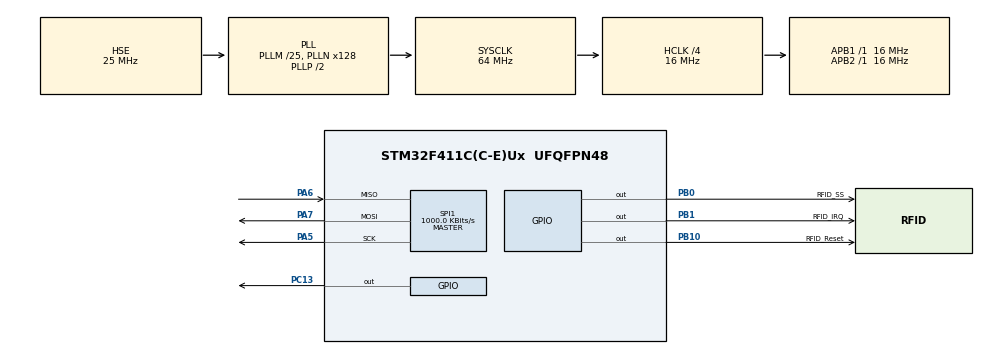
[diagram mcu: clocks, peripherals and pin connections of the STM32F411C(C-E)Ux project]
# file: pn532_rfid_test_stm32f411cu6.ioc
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Mcu.Family=STM32F4
Mcu.Name=STM32F411C(C-E)Ux
Mcu.Package=UFQFPN48
NVIC.PriorityGroup=NVIC_PRIORITYGROUP_4
NVIC.SPI1_IRQn=true\:0\:0\:false\:false\:true\:true\:true\:true
PA13.Mode=Serial_Wire
PA13.Signal=SYS_JTMS-SWDIO
PA14.Mode=Serial_Wire
PA14.Signal=SYS_JTCK-SWCLK
PA5.Mode=Full_Duplex_Master
PA5.Signal=SPI1_SCK
PA6.Mode=Full_Duplex_Master
PA6.Signal=SPI1_MISO
PA7.Mode=Full_Duplex_Master
PA7.Signal=SPI1_MOSI
PB0.GPIO_Label=RFID_SS
PB0.Signal=GPIO_Output
PB1.GPIO_Label=RFID_IRQ
PB1.Signal=GPIO_Output
PB10.GPIO_Label=RFID_Reset
PB10.Signal=GPIO_Output
PC13-ANTI_TAMP.Signal=GPIO_Output
PH0\ -\ OSC_IN.Mode=HSE-External-Oscillator
PH0\ -\ OSC_IN.Signal=RCC_OSC_IN
PH1\ -\ OSC_OUT.Mode=HSE-External-Oscillator
PH1\ -\ OSC_OUT.Signal=RCC_OSC_OUT
ProjectManager.HeapSize=0x200
ProjectManager.StackSize=0x400
ProjectManager.TargetToolchain=STM32CubeIDE
RCC.48MHZClocksFreq_Value=32000000
RCC.AHBCLKDivider=RCC_SYSCLK_DIV4
RCC.AHBFreq_Value=16000000
RCC.APB1Freq_Value=16000000
RCC.APB1TimFreq_Value=16000000
RCC.APB2Freq_Value=16000000
RCC.APB2TimFreq_Value=16000000
RCC.CortexFreq_Value=16000000
RCC.HCLKFreq_Value=16000000
RCC.HSE_VALUE=25000000
RCC.HSI_VALUE=16000000
RCC.LSE_VALUE=32768
RCC.PLLM=25
RCC.PLLN=128
RCC.PLLSourceVirtual=RCC_PLLSOURCE_HSE
RCC.SYSCLKFreq_VALUE=64000000
RCC.SYSCLKSource=RCC_SYSCLKSOURCE_PLLCLK
RCC.VCOOutputFreq_Value=128000000
SPI1.BaudRatePrescaler=SPI_BAUDRATEPRESCALER_16
SPI1.CalculateBaudRate=1000.0 KBits/s
SPI1.Direction=SPI_DIRECTION_2LINES
SPI1.FirstBit=SPI_FIRSTBIT_LSB
SPI1.Mode=SPI_MODE_MASTER
SPI1.VirtualType=VM_MASTER
board=custom

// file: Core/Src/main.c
/* USER CODE BEGIN Header */
/**
  ******************************************************************************
  * @file           : main.c
  * @brief          : Main program body
  ******************************************************************************
  * @attention
  *
  * Copyright (c) 2023 STMicroelectronics.
  * All rights reserved.
  *
  * This software is licensed under terms that can be found in the LICENSE file
  * in the root directory of this software component.
  * If no LICENSE file comes with this software, it is provided AS-IS.
  *
  ******************************************************************************
  */
/* USER CODE END Header */
#include "main.h"

/* USER CODE BEGIN Includes */
#include "mylibrary.h"
#include "pn532_stm32f1.h"
#include <stdio.h>
/* USER CODE END Includes */

/* USER CODE BEGIN PTD */
  uint8_t buff[255];
  uint8_t uid[MIFARE_UID_MAX_LENGTH];
  uint8_t key_a[] = {0xFF, 0xFF, 0xFF, 0xFF, 0xFF, 0xFF};
  uint32_t pn532_error = PN532_ERROR_NONE;
  int32_t uid_len = 0;
  uint8_t getfirmware_status;
  PN532 pn532;
/* USER CODE END PTD */

/* USER CODE BEGIN PD */
#define use_HEXADECIMAL
/* USER CODE END PD */

SPI_HandleTypeDef hspi1;

void SystemClock_Config(void);
static void MX_GPIO_Init(void);
static void MX_SPI1_Init(void);

int main(void)
{

  /* MCU Configuration--------------------------------------------------------*/

  /* Reset of all peripherals, Initializes the Flash interface and the Systick. */
  HAL_Init();

  /* Configure the system clock */
  SystemClock_Config();

  /* Initialize all configured peripherals */
  MX_GPIO_Init();
  MX_SPI1_Init();
  /* USER CODE BEGIN 2 */
  HAL_Delay(1000);
  memset(buffer, 0, sizeof(buffer));

  PN532_SPI_Init(&pn532);

  if (PN532_GetFirmwareVersion(&pn532, buff) != PN532_STATUS_OK)
  {
    while(1)
    {
    	HAL_GPIO_WritePin(GPIOC, GPIO_PIN_13, SET);
    	HAL_Delay(250);
    	HAL_GPIO_WritePin(GPIOC, GPIO_PIN_13, RESET);
    	HAL_Delay(250);
    }
  }
  PN532_SamConfiguration(&pn532);

  /* USER CODE END 2 */

  /* Infinite loop */
  /* USER CODE BEGIN WHILE */
  while (1)
  {
	  //memset(uid, 0, sizeof(uid));
	  uid_len = PN532_ReadPassiveTarget(&pn532, uid, PN532_MIFARE_ISO14443A, 1000);
	      if (uid_len != PN532_STATUS_ERROR) {

//	  	    // Write 0x00, 0x11, 0x22, ... to block 6
//	  	    for (uint8_t i = 0; i < 16; i++) {
//	  	      buff[i] = (i << 4) + i;
//	  	    }
//	  	    pn532_error = PN532_MifareClassicWriteBlock(&pn532, buff, 6);

	  	  // Read the data from block 6
	  	    for (uint8_t i = 0; i < 16; i++) {
	  		  buff[i] = 0x00;
	  	  	 }
	  	  	 pn532_error = PN532_MifareClassicReadBlock(&pn532, buff, 6);
	      }

	  //HAL_Delay(10);

    /* USER CODE END WHILE */

  }
}

void SystemClock_Config(void)
{
  RCC_OscInitTypeDef RCC_OscInitStruct = {0};
  RCC_ClkInitTypeDef RCC_ClkInitStruct = {0};

  /** Configure the main internal regulator output voltage
  */
  __HAL_RCC_PWR_CLK_ENABLE();
  __HAL_PWR_VOLTAGESCALING_CONFIG(PWR_REGULATOR_VOLTAGE_SCALE1);

  /** Initializes the RCC Oscillators according to the specified parameters
  * in the RCC_OscInitTypeDef structure.
  */
  RCC_OscInitStruct.OscillatorType = RCC_OSCILLATORTYPE_HSE;
  RCC_OscInitStruct.HSEState = RCC_HSE_ON;
  RCC_OscInitStruct.PLL.PLLState = RCC_PLL_ON;
  RCC_OscInitStruct.PLL.PLLSource = RCC_PLLSOURCE_HSE;
  RCC_OscInitStruct.PLL.PLLM = 25;
  RCC_OscInitStruct.PLL.PLLN = 128;
  RCC_OscInitStruct.PLL.PLLP = RCC_PLLP_DIV2;
  RCC_OscInitStruct.PLL.PLLQ = 4;
  if (HAL_RCC_OscConfig(&RCC_OscInitStruct) != HAL_OK)
  {
    Error_Handler();
  }

  /** Initializes the CPU, AHB and APB buses clocks
  */
  RCC_ClkInitStruct.ClockType = RCC_CLOCKTYPE_HCLK|RCC_CLOCKTYPE_SYSCLK
                              |RCC_CLOCKTYPE_PCLK1|RCC_CLOCKTYPE_PCLK2;
  RCC_ClkInitStruct.SYSCLKSource = RCC_SYSCLKSOURCE_PLLCLK;
  RCC_ClkInitStruct.AHBCLKDivider = RCC_SYSCLK_DIV4;
  RCC_ClkInitStruct.APB1CLKDivider = RCC_HCLK_DIV1;
  RCC_ClkInitStruct.APB2CLKDivider = RCC_HCLK_DIV1;

  if (HAL_RCC_ClockConfig(&RCC_ClkInitStruct, FLASH_LATENCY_0) != HAL_OK)
  {
    Error_Handler();
  }
}

static void MX_SPI1_Init(void)
{

  /* SPI1 parameter configuration*/
  hspi1.Instance = SPI1;
  hspi1.Init.Mode = SPI_MODE_MASTER;
  hspi1.Init.Direction = SPI_DIRECTION_2LINES;
  hspi1.Init.DataSize = SPI_DATASIZE_8BIT;
  hspi1.Init.CLKPolarity = SPI_POLARITY_LOW;
  hspi1.Init.CLKPhase = SPI_PHASE_1EDGE;
  hspi1.Init.NSS = SPI_NSS_SOFT;
  hspi1.Init.BaudRatePrescaler = SPI_BAUDRATEPRESCALER_16;
  hspi1.Init.FirstBit = SPI_FIRSTBIT_LSB;
  hspi1.Init.TIMode = SPI_TIMODE_DISABLE;
  hspi1.Init.CRCCalculation = SPI_CRCCALCULATION_DISABLE;
  hspi1.Init.CRCPolynomial = 10;
  if (HAL_SPI_Init(&hspi1) != HAL_OK)
  {
    Error_Handler();
  }

}

static void MX_GPIO_Init(void)
{
  GPIO_InitTypeDef GPIO_InitStruct = {0};

  /* GPIO Ports Clock Enable */
  __HAL_RCC_GPIOC_CLK_ENABLE();
  __HAL_RCC_GPIOH_CLK_ENABLE();
  __HAL_RCC_GPIOA_CLK_ENABLE();
  __HAL_RCC_GPIOB_CLK_ENABLE();

  /*Configure GPIO pin Output Level */
  HAL_GPIO_WritePin(GPIOC, GPIO_PIN_13, GPIO_PIN_RESET);

  /*Configure GPIO pin Output Level */
  HAL_GPIO_WritePin(GPIOB, RFID_SS_Pin|RFID_IRQ_Pin|RFID_Reset_Pin, GPIO_PIN_RESET);

  /*Configure GPIO pin : PC13 */
  GPIO_InitStruct.Pin = GPIO_PIN_13;
  GPIO_InitStruct.Mode = GPIO_MODE_OUTPUT_PP;
  GPIO_InitStruct.Pull = GPIO_NOPULL;
  GPIO_InitStruct.Speed = GPIO_SPEED_FREQ_LOW;
  HAL_GPIO_Init(GPIOC, &GPIO_InitStruct);

  /*Configure GPIO pins : RFID_SS_Pin RFID_IRQ_Pin RFID_Reset_Pin */
  GPIO_InitStruct.Pin = RFID_SS_Pin|RFID_IRQ_Pin|RFID_Reset_Pin;
  GPIO_InitStruct.Mode = GPIO_MODE_OUTPUT_PP;
  GPIO_InitStruct.Pull = GPIO_NOPULL;
  GPIO_InitStruct.Speed = GPIO_SPEED_FREQ_LOW;
  HAL_GPIO_Init(GPIOB, &GPIO_InitStruct);

}

void Error_Handler(void)
{
  __disable_irq();
  while (1)
  {
  }
}
